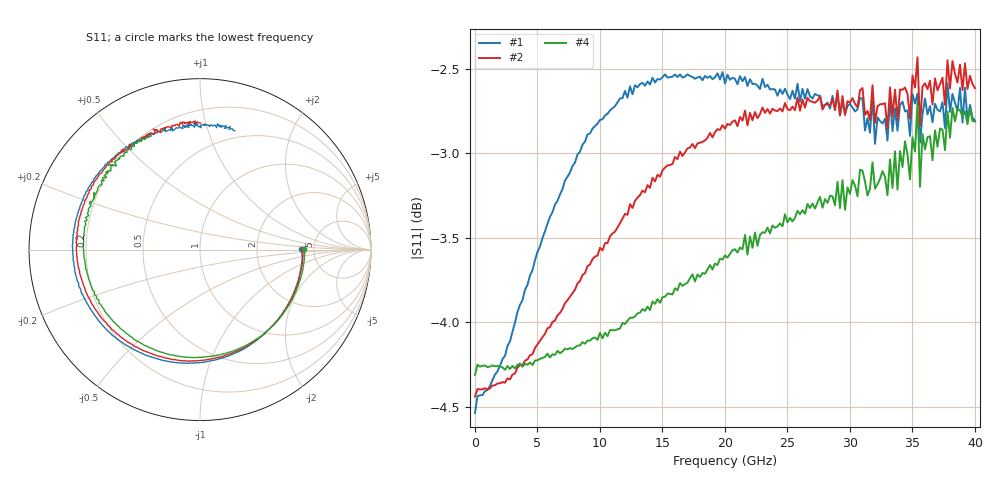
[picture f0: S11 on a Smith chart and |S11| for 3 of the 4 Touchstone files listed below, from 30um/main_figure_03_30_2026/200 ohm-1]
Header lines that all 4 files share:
!Agilent Technologies,N5227A,US51270434,A.10.00.00
!Agilent N5227A: A.10.00.00
!Correction: S11(Full 1 Port(1))
!S1P File: Measurement: S11:
# Hz S  dB  R 50
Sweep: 10 MHz to 40 GHz
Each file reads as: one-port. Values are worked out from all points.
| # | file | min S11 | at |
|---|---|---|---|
| 1 | Bias_0V_200ohm-1.s1p | -4.5 dB | 10 MHz |
| 2 | Bias_-3V_200ohm-1.s1p | -4.4 dB | 10 MHz |
| 3 | Bias_-4V_200ohm-1.s1p | -4.4 dB | 10 MHz |
| 4 | Bias_-7V_200ohm-1.s1p | -4.3 dB | 10 MHz |
